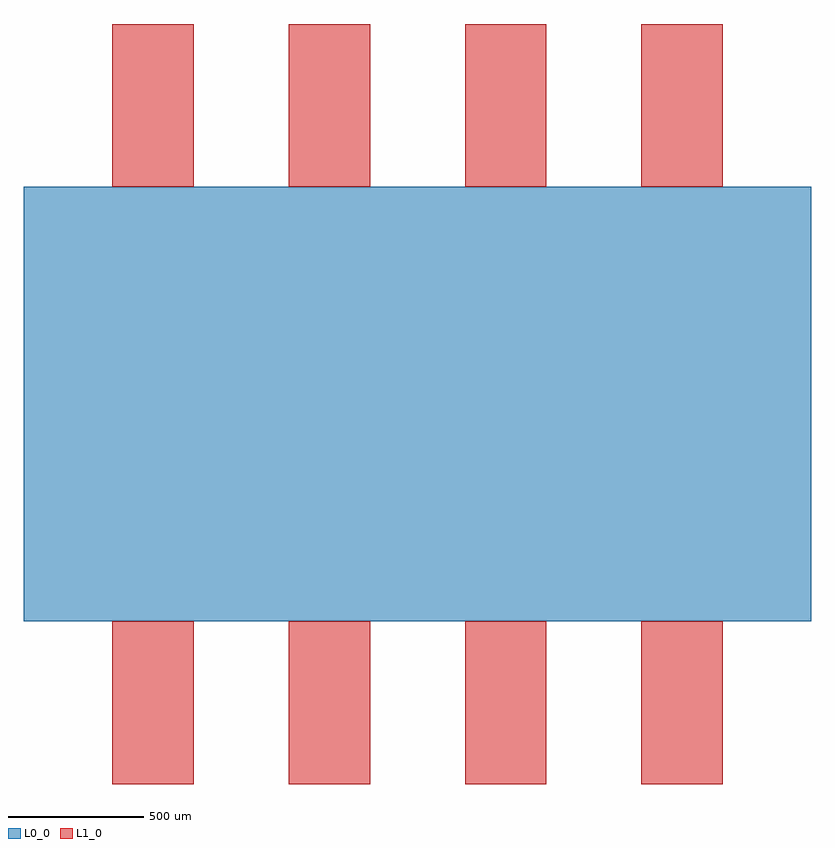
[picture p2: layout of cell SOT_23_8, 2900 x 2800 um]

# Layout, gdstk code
import gdstk
lib = gdstk.Library(unit=1e-6, precision=1e-09)
def R(c, l, rs):  # rectangles x0, y0, x1, y1
    for r in rs: c.add(gdstk.rectangle(r[:2], r[2:], *l))
def A(c, l, x, y, w, h, nx, ny, dx, dy):  # array of equal rectangles
    R(c, l, [(x+i*dx, y+j*dy, x+i*dx+w, y+j*dy+h) for i in range(nx) for j in range(ny)])
L0_0 = (0, 0)
L1_0 = (1, 0)
L99_1 = (99, 1)
L99_2 = (99, 2)
L99_3 = (99, 3)
L99_4 = (99, 4)
L99_5 = (99, 5)
L99_6 = (99, 6)
L99_7 = (99, 7)
L99_8 = (99, 8)

sot_23_8 = lib.new_cell('SOT_23_8')
R(sot_23_8, L0_0, [(0,0,2900,1600)])
A(sot_23_8, L1_0, 325, -600, 300, 600, 4, 2, 650, 2200)
sot_23_8.add(gdstk.FlexPath([(625,0),(325,0)], 0, ends="round", simple_path=True, layer=99, datatype=1))  # L99_1
sot_23_8.add(gdstk.FlexPath([(1275,0),(975,0)], 0, ends="round", simple_path=True, layer=99, datatype=2))  # L99_2
sot_23_8.add(gdstk.FlexPath([(1925,0),(1625,0)], 0, ends="round", simple_path=True, layer=99, datatype=3))  # L99_3
sot_23_8.add(gdstk.FlexPath([(2575,0),(2275,0)], 0, ends="round", simple_path=True, layer=99, datatype=4))  # L99_4
sot_23_8.add(gdstk.FlexPath([(2275,1600),(2575,1600)], 0, ends="round", simple_path=True, layer=99, datatype=5))  # L99_5
sot_23_8.add(gdstk.FlexPath([(1625,1600),(1925,1600)], 0, ends="round", simple_path=True, layer=99, datatype=6))  # L99_6
sot_23_8.add(gdstk.FlexPath([(975,1600),(1275,1600)], 0, ends="round", simple_path=True, layer=99, datatype=7))  # L99_7
sot_23_8.add(gdstk.FlexPath([(325,1600),(625,1600)], 0, ends="round", simple_path=True, layer=99, datatype=8))  # L99_8

lib.write_gds('SOT_23_8.gds')
